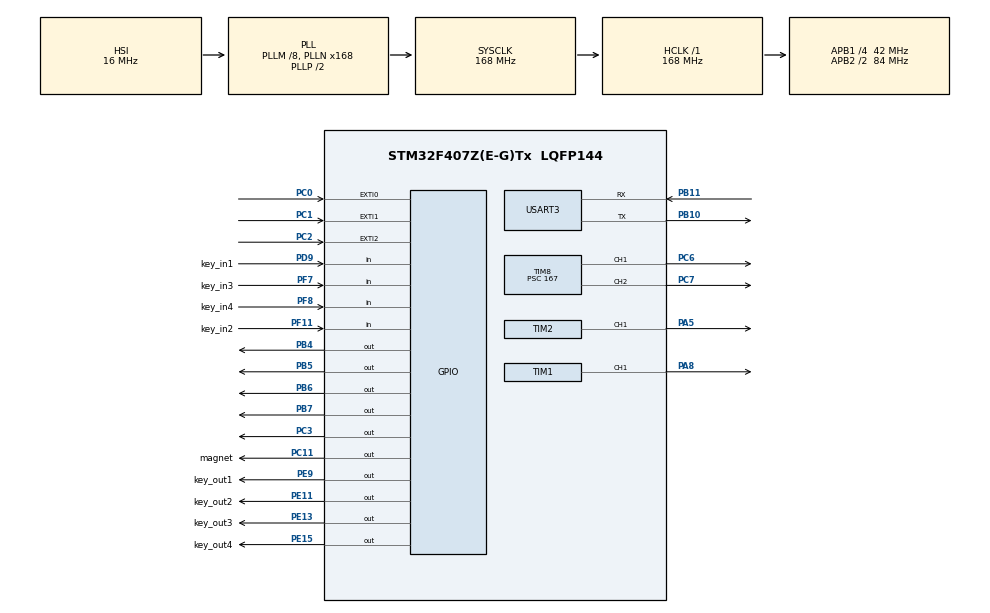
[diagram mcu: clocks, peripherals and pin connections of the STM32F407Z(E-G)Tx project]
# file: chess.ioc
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Dma.Request0=USART3_RX
Dma.USART3_RX.0.Direction=DMA_PERIPH_TO_MEMORY
Dma.USART3_RX.0.FIFOMode=DMA_FIFOMODE_DISABLE
Dma.USART3_RX.0.Instance=DMA1_Stream1
Dma.USART3_RX.0.MemDataAlignment=DMA_MDATAALIGN_BYTE
Dma.USART3_RX.0.MemInc=DMA_MINC_ENABLE
Dma.USART3_RX.0.Mode=DMA_CIRCULAR
Dma.USART3_RX.0.PeriphDataAlignment=DMA_PDATAALIGN_BYTE
Dma.USART3_RX.0.PeriphInc=DMA_PINC_DISABLE
Dma.USART3_RX.0.Priority=DMA_PRIORITY_HIGH
Mcu.Family=STM32F4
Mcu.Name=STM32F407Z(E-G)Tx
Mcu.Package=LQFP144
NVIC.DMA1_Stream1_IRQn=true\:0\:0\:false\:false\:true\:false\:true\:true
NVIC.EXTI0_IRQn=true\:0\:0\:false\:false\:true\:true\:true\:true
NVIC.EXTI1_IRQn=true\:0\:0\:false\:false\:true\:true\:true\:true
NVIC.EXTI2_IRQn=true\:0\:0\:false\:false\:true\:true\:true\:true
NVIC.PriorityGroup=NVIC_PRIORITYGROUP_4
NVIC.USART3_IRQn=true\:0\:0\:false\:false\:true\:true\:true\:true
PA5.Signal=S_TIM2_CH1_ETR
PA8.Signal=S_TIM1_CH1
PB10.Mode=Asynchronous
PB10.Signal=USART3_TX
PB11.Mode=Asynchronous
PB11.Signal=USART3_RX
PB4.Signal=GPIO_Output
PB5.Signal=GPIO_Output
PB6.Signal=GPIO_Output
PB7.Signal=GPIO_Output
PC0.GPIO_ModeDefaultEXTI=GPIO_MODE_IT_FALLING
PC0.GPIO_PuPd=GPIO_PULLUP
PC0.Signal=GPXTI0
PC1.GPIO_ModeDefaultEXTI=GPIO_MODE_IT_FALLING
PC1.GPIO_PuPd=GPIO_PULLUP
PC1.Signal=GPXTI1
PC11.GPIO_Label=magnet
PC11.GPIO_PuPd=GPIO_PULLDOWN
PC11.Signal=GPIO_Output
PC2.GPIO_ModeDefaultEXTI=GPIO_MODE_IT_FALLING
PC2.GPIO_PuPd=GPIO_PULLUP
PC2.Signal=GPXTI2
PC3.Signal=GPIO_Output
PC6.Signal=S_TIM8_CH1
PC7.Signal=S_TIM8_CH2
PD9.GPIO_Label=key_in1
PD9.GPIO_PuPd=GPIO_PULLUP
PD9.Signal=GPIO_Input
PE11.GPIO_Label=key_out2
PE11.GPIO_PuPd=GPIO_PULLUP
PE11.Signal=GPIO_Output
PE13.GPIO_Label=key_out3
PE13.GPIO_PuPd=GPIO_PULLUP
PE13.Signal=GPIO_Output
PE15.GPIO_Label=key_out4
PE15.GPIO_PuPd=GPIO_PULLUP
PE15.Signal=GPIO_Output
PE9.GPIO_Label=key_out1
PE9.GPIO_PuPd=GPIO_PULLUP
PE9.Signal=GPIO_Output
PF11.GPIO_Label=key_in2
PF11.GPIO_PuPd=GPIO_PULLUP
PF11.Signal=GPIO_Input
PF7.GPIO_Label=key_in3
PF7.GPIO_PuPd=GPIO_PULLUP
PF7.Signal=GPIO_Input
PF8.GPIO_Label=key_in4
PF8.GPIO_PuPd=GPIO_PULLUP
PF8.Signal=GPIO_Input
ProjectManager.HeapSize=0x200
ProjectManager.StackSize=0x400
ProjectManager.TargetToolchain=MDK-ARM V5
RCC.48MHZClocksFreq_Value=84000000
RCC.AHBFreq_Value=168000000
RCC.APB1CLKDivider=RCC_HCLK_DIV4
RCC.APB1Freq_Value=42000000
RCC.APB1TimFreq_Value=84000000
RCC.APB2CLKDivider=RCC_HCLK_DIV2
RCC.APB2Freq_Value=84000000
RCC.APB2TimFreq_Value=168000000
RCC.CortexFreq_Value=168000000
RCC.HCLKFreq_Value=168000000
RCC.HSE_VALUE=25000000
RCC.HSI_VALUE=16000000
RCC.LSE_VALUE=32768
RCC.PLLM=8
RCC.PLLN=168
RCC.SYSCLKFreq_VALUE=168000000
RCC.SYSCLKSource=RCC_SYSCLKSOURCE_PLLCLK
RCC.VCOOutputFreq_Value=336000000
SH.S_TIM1_CH1.0=TIM1_CH1,PWM Generation1 CH1
SH.S_TIM2_CH1_ETR.0=TIM2_CH1,PWM Generation1 CH1
SH.S_TIM8_CH1.0=TIM8_CH1,PWM Generation1 CH1
SH.S_TIM8_CH2.0=TIM8_CH2,PWM Generation2 CH2
TIM1.AutoReloadPreload=TIM_AUTORELOAD_PRELOAD_ENABLE
TIM1.Channel-PWM\ Generation1\ CH1=TIM_CHANNEL_1
TIM1.Period=999
TIM1.Prescaler=167
TIM2.AutoReloadPreload=TIM_AUTORELOAD_PRELOAD_ENABLE
TIM2.Channel-PWM\ Generation1\ CH1=TIM_CHANNEL_1
TIM2.Period=999
TIM2.Prescaler=167
TIM8.AutoReloadPreload=TIM_AUTORELOAD_PRELOAD_ENABLE
TIM8.Channel-PWM\ Generation1\ CH1=TIM_CHANNEL_1
TIM8.Channel-PWM\ Generation2\ CH2=TIM_CHANNEL_2
TIM8.Period=999
TIM8.Prescaler=167
USART3.VirtualMode=VM_ASYNC
USART3.WordLength=WORDLENGTH_8B
VP_TIM1_VS_ClockSourceINT.Mode=Internal
VP_TIM2_VS_ClockSourceINT.Mode=Internal
VP_TIM8_VS_ClockSourceINT.Mode=Internal
board=custom

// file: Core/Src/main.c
/* USER CODE BEGIN Header */
/**
  ******************************************************************************
  * @file           : main.c
  * @brief          : Main program body (Multi-timer axis control 2025-06-13)
  ******************************************************************************
  * @attention
  *
  * Copyright (c) 2025 STMicroelectronics.
  * All rights reserved.
  *
  * This software is licensed under terms that can be found in the LICENSE file
  * in the root directory of this software component.
  * If no LICENSE file comes with this software, it is provided AS-IS.
  *
  ******************************************************************************
  */
/* USER CODE END Header */
#include "main.h"

/* USER CODE BEGIN Includes */
#include <stdint.h>
#include <string.h>
#include <stdio.h>
#include <stdlib.h>
#include "stm32f4xx.h"
#include "axis_control.h"
#include "homing.h"
#include "motion_planner.h"
#include "keyboard.h"
#include "k210_comm.h"
#include "chess_logic.h"
/* USER CODE END Includes */

/* USER CODE BEGIN PTD */
// All typedefs moved to respective modules
//顶层枚举
typedef enum { MODE_NONE, MODE_DEMO_1PC, MODE_DEMO_4PC, MODE_DEMO_ROTATION,
               MODE_AI_BLACK, MODE_AI_WHITE, MODE_RESET_BOARD} Mode_t;

//分阶段运行
typedef enum {
    STAGE_IDLE,          // 空闲
	  STAGE_WAIT_KEY,
    STAGE_COLLECT_INPUTS,// 新增：为MODE_DEMO_4PC收集按键输入
    STAGE_CAPTURE_REQ,   // 给 K210 发送 'S' 触发采集
    STAGE_WAIT_FRAME,    // 等待帧就绪
    STAGE_ANALYZE_FRAME, // 检测棋盘/落子合法性
    STAGE_PLAN_MOVE,     // 调用 ChessLogic 计算或脚本化给出目标格
    STAGE_EXECUTE_MOVE,  // 调用 Motion_* 执行机械运动
    STAGE_VERIFY_BOARD,  // 对弈模式下：校验人类走子 / 棋子被挪动
    STAGE_FINISHED       // 本模式结束 → 回到 MODE_NONE
} Stage_t;
/* USER CODE END PTD */

/* USER CODE BEGIN PD */
#define UART_RX_BUFFER_SIZE 512
#define UART_TX_BUFFER_SIZE 512
#define COLOR_BLACK 0
#define COLOR_WHITE 1
#define BOARD_SIZE (GAME_BOARD_SIZE)

/* === 全局状态 =========================================== */
static Mode_t  g_mode  = MODE_NONE;
static Stage_t g_stage = STAGE_IDLE;
static uint8_t g_step  = 0;
static uint8_t ai_first_move = 1;    // ← 新增：AI 第一次落子标志
static int8_t  g_aiSide = COLOR_BLACK;          // 0:Black 1:White
static int     g_firstMoveIdx = 4;              // 默认中心
static int8_t  g_boardLast[GAME_BOARD_SIZE] = {0};   // 上次棋盘
// Other defines moved to respective modules
/* USER CODE END PD */

TIM_HandleTypeDef htim1;
TIM_HandleTypeDef htim2;
TIM_HandleTypeDef htim8;

UART_HandleTypeDef huart3;
DMA_HandleTypeDef hdma_usart3_rx;

/* USER CODE BEGIN PV */
/* All variables have been moved to their respective modules.
   State is now managed within axis_control.c, motion_planner.c, etc. */

/* UART receive variables - kept here for now if still used directly in main */
uint8_t rxBuffer[UART_RX_BUFFER_SIZE];
uint8_t rxIndex = 0;
uint8_t rxChar;
/* USER CODE END PV */

void SystemClock_Config(void);
static void MX_GPIO_Init(void);
static void MX_DMA_Init(void);
static void MX_TIM8_Init(void);
static void MX_USART3_UART_Init(void);
static void MX_TIM1_Init(void);
static void MX_TIM2_Init(void);
/* USER CODE BEGIN PFP */
/* All function prototypes have been moved to their respective module headers */
/* USER CODE END PFP */

/* USER CODE BEGIN 0 */
// All functions moved to their respective modules
/* USER CODE END 0 */

int main(void)
{

  /* MCU Configuration--------------------------------------------------------*/

  /* Reset of all peripherals, Initializes the Flash interface and the Systick. */
  HAL_Init();

  /* Configure the system clock */
  SystemClock_Config();

  /* Initialize all configured peripherals */
  MX_GPIO_Init();
  MX_DMA_Init();
  MX_TIM8_Init();
  MX_USART3_UART_Init();
  MX_TIM1_Init();
  MX_TIM2_Init();
  /* USER CODE BEGIN 2 */
  AxisControl_Init();
  HAL_TIM_Base_Start(&htim1); // Start the timer base
  HAL_TIM_Base_Start(&htim2); // Start the timer base
  HAL_TIM_Base_Start(&htim8); // Start the timer base

  // 初始化 K210 通信
  K210_CommInit(&huart3);
	Homing_Run();
	ChessLogic_Init(); // 初始化下棋逻辑
  // 默认将 PC3 拉低
  HAL_GPIO_WritePin(GPIOC, GPIO_PIN_3, GPIO_PIN_RESET);
	HAL_Delay(500);
//	Motion_MoveTo(1625, 15725, 2000, 3000);
//	Motion_WaitAll();
//	Motion_MoveTo(1625, 15725, 500, 3000);
//	Motion_WaitAll();
  /* USER CODE END 2 */

  /* Infinite loop */
  /* USER CODE BEGIN WHILE */
	while (1)
	{
		/*------------------------------------------------------------*
		 * 0) 根据当前状态决定是否需要扫描键盘                       *
		 *------------------------------------------------------------*/
		if (g_mode == MODE_NONE) /* 只有在未选择任何模式时，才扫描按键用于选择模式 */
		{
			uint8_t key = Key_Scan(); // 将按键扫描移到判断内部
			if (key) // 只有当 key 非 0 时才处理
			{
				switch (key)
				{
					case 1:
						g_mode=MODE_DEMO_1PC;
						g_stage = STAGE_CAPTURE_REQ;
						break;
					case 2:
						g_mode=MODE_DEMO_4PC;
						g_stage = STAGE_COLLECT_INPUTS;
						g_step = 0;
						break;
					case 3:
						g_mode = MODE_DEMO_ROTATION;
						g_stage = STAGE_COLLECT_INPUTS;
						g_step = 0;
						break;
					case 4:
						g_mode = MODE_AI_BLACK;
						g_aiSide = COLOR_BLACK;
						g_stage = STAGE_IDLE; // AI先行，下一轮循环进入AI模式
						break;
					case 5:
						g_mode = MODE_AI_WHITE;
						g_aiSide = COLOR_WHITE;
						g_stage = STAGE_IDLE; // AI后行，等待玩家
						break;
					case 6:
						g_mode = MODE_RESET_BOARD;
						g_stage = STAGE_CAPTURE_REQ;
						break;
					default: break;
				}
			}
		}

		/* 主状态机 */
		switch(g_mode){
			case MODE_DEMO_1PC:{
				const BoardPositionCoord_t *src_demo1pc = NULL;
				const BoardPositionCoord_t *dst_demo1pc = NULL;
				switch(g_stage){
					case STAGE_CAPTURE_REQ:
						K210_RequestCapture();
						g_stage = STAGE_WAIT_FRAME;
						break;
					case STAGE_WAIT_FRAME:
						if (K210_FrameReady())
						{
							const K210_Frame_t *frame = K210_GetFrame();
							ChessLogic_UpdateBoardFromK210(frame, g_aiSide);
							g_stage = STAGE_ANALYZE_FRAME;
						}
						break;
					case STAGE_ANALYZE_FRAME:
						g_stage = STAGE_PLAN_MOVE;
						break;
					case STAGE_PLAN_MOVE:
						// 演示：将第一颗棋盘外的黑子（假设在索引9）移动到棋盘中心（索引4）
						BoardPositionCoord_t src_coord_demo1pc; // 定义独立的源坐标变量
						BoardPositionCoord_t dst_coord_demo1pc; // 定义独立的目标坐标变量

						ChessLogic_GetCoordinatesForMove(9, &src_coord_demo1pc); // 获取源坐标
						ChessLogic_GetCoordinatesForMove(4, &dst_coord_demo1pc); // 获取目标坐标

						Motion_PickAndPlace(&src_coord_demo1pc, &dst_coord_demo1pc); // 传入两个不同变量的地址

						g_stage = STAGE_FINISHED;
						break;
					case STAGE_FINISHED:
						g_mode  = MODE_NONE;
						g_stage = STAGE_IDLE;
						break;
					default:
						g_stage = STAGE_IDLE; // Reset if in an unknown stage
						break;
				}
				break; // Added missing break for MODE_DEMO_1PC
			}
			case MODE_DEMO_4PC:{
				static int destinations[4]; // 存储4个目标位置
				const BoardPositionCoord_t *src_demo4pc = NULL;
				const BoardPositionCoord_t *dst_demo4pc = NULL;

				switch(g_stage){
					case STAGE_COLLECT_INPUTS: {
						uint8_t key = Key_Scan();
						if (key >= 1 && key <= 9) { // 只接受按键 1-9
							destinations[g_step] = key - 1; // 假设按键1-9对应棋盘索引0-8
							g_step++;
							HAL_Delay(250); // 简单防抖和用户反馈延迟
						}

						if (g_step >= 4) {
							// 收集完成，进入与Mode 1类似的流程
							g_stage = STAGE_CAPTURE_REQ;
						}
						break;
					}

					case STAGE_CAPTURE_REQ:
						HAL_GPIO_WritePin(GPIOC, GPIO_PIN_3, GPIO_PIN_SET); // 拉高引脚，通知开始拍照
						K210_RequestCapture();
						g_stage = STAGE_WAIT_FRAME;
						break;

					case STAGE_WAIT_FRAME:
						if (K210_FrameReady())
						{
							const K210_Frame_t *frame = K210_GetFrame();
							ChessLogic_UpdateBoardFromK210(frame, g_aiSide);
							g_stage = STAGE_ANALYZE_FRAME;
						}
						break;

					case STAGE_ANALYZE_FRAME:
						// 此处可以添加棋盘验证逻辑，现在直接进入执行
						g_stage = STAGE_EXECUTE_MOVE;
						break;

					case STAGE_EXECUTE_MOVE: {
						// 执行4次移动
						// 1. 黑子 #1
						BoardPositionCoord_t src1, dst1;
						ChessLogic_GetCoordinatesForMove(9, &src1); // 第1个备用区
						ChessLogic_GetCoordinatesForMove(destinations[0], &dst1);
						Motion_PickAndPlace(&src1, &dst1);

						// 2. 黑子 #2
						BoardPositionCoord_t src2, dst2;
						ChessLogic_GetCoordinatesForMove(10, &src2); // 第2个备用区
						ChessLogic_GetCoordinatesForMove(destinations[1], &dst2);
						Motion_PickAndPlace(&src2, &dst2);

						// 3. 白子 #1
						BoardPositionCoord_t src3, dst3;
						ChessLogic_GetCoordinatesForMove(14, &src3); // 第6个备用区 (白子/AI区)
						ChessLogic_GetCoordinatesForMove(destinations[2], &dst3);
						Motion_PickAndPlace(&src3, &dst3);

						// 4. 白子 #2
						BoardPositionCoord_t src4, dst4;
						ChessLogic_GetCoordinatesForMove(15, &src4); // 第7个备用区
						ChessLogic_GetCoordinatesForMove(destinations[3], &dst4);
						Motion_PickAndPlace(&src4, &dst4);

						g_stage = STAGE_FINISHED;
						break;
					}

					case STAGE_FINISHED:
						g_mode  = MODE_NONE;
						g_stage = STAGE_IDLE;
						break;

					default:
						g_stage = STAGE_IDLE;
						break;
				}
				break;
			}
			case MODE_DEMO_ROTATION: {
				static int destinations[4]; // 存储4个目标位置

				switch(g_stage){
					case STAGE_COLLECT_INPUTS: {
						uint8_t key = Key_Scan();
						if (key >= 1 && key <= 9) { // 只接受按键 1-9
							destinations[g_step] = key - 1; // 棋盘索引 0-8
							g_step++;
							HAL_Delay(250);
						}

						if (g_step >= 4) {
							// 收集完成
							g_stage = STAGE_CAPTURE_REQ;
						}
						break;
					}

					case STAGE_CAPTURE_REQ:
						K210_RequestCapture();
						g_stage = STAGE_WAIT_FRAME;
						break;

					case STAGE_WAIT_FRAME:
						if (K210_FrameReady())
						{
							// 下一阶段进行分析和计算
							g_stage = STAGE_ANALYZE_FRAME;
						}
						break;

					case STAGE_ANALYZE_FRAME: {
						const K210_Frame_t *frame = K210_GetFrame();
						if (frame->corners_ok >= 4) {
							// 调用新函数，根据角点计算并更新电机坐标
							ChessLogic_ApplyRotationFromCorners(frame);
							g_stage = STAGE_EXECUTE_MOVE; // 计算成功，准备执行
						} else {
							// 未能识别足够角点，无法计算，直接结束
							g_stage = STAGE_FINISHED;
						}
						break;
					}

					case STAGE_EXECUTE_MOVE: {
						// 此部分逻辑与 MODE_DEMO_4PC 完全相同
						// 它会调用 ChessLogic_GetCoordinatesForMove,
						// 而该函数现在会返回旋转后的坐标。
						BoardPositionCoord_t src1, dst1;
						ChessLogic_GetCoordinatesForMove(9, &src1);
						ChessLogic_GetCoordinatesForMove(destinations[0], &dst1);
						Motion_PickAndPlace(&src1, &dst1);

						BoardPositionCoord_t src2, dst2;
						ChessLogic_GetCoordinatesForMove(10, &src2);
						ChessLogic_GetCoordinatesForMove(destinations[1], &dst2);
						Motion_PickAndPlace(&src2, &dst2);

						BoardPositionCoord_t src3, dst3;
						ChessLogic_GetCoordinatesForMove(14, &src3);
						ChessLogic_GetCoordinatesForMove(destinations[2], &dst3);
						Motion_PickAndPlace(&src3, &dst3);

						BoardPositionCoord_t src4, dst4;
						ChessLogic_GetCoordinatesForMove(15, &src4);
						ChessLogic_GetCoordinatesForMove(destinations[3], &dst4);
						Motion_PickAndPlace(&src4, &dst4);

						g_stage = STAGE_FINISHED;
						break;
					}

					case STAGE_FINISHED:
						ChessLogic_Init(); // 重置坐标为未经旋转的初始状态
						g_mode  = MODE_NONE;
						g_stage = STAGE_IDLE;
						break;

					default:
						g_stage = STAGE_IDLE;
						break;
				}
				break;
			}
			case MODE_AI_BLACK: {
				static int ai_piece_storage_idx = 14; // AI棋子从14号开始拿

				switch(g_stage){
					case STAGE_IDLE: { // 模式启动后，等待用户按键1-9设置开局位置
						uint8_t key = Key_Scan();
						if (key >= 1 && key <= 9) {
							// 按键1-9对应棋盘索引0-8，更新AI第一步的落子位置
							g_firstMoveIdx = key - 1;
							HAL_GPIO_WritePin(GPIOC, GPIO_PIN_3, GPIO_PIN_SET); //单独按键，无需拍照，但是需要灭灯
							// 初始化对局状态
							ChessLogic_Init();
							memset(g_boardLast, EMPTY_CELL, sizeof(g_boardLast));
							ai_piece_storage_idx = BLACK_PIECE_STORAGE_START_IDX;
							ai_first_move = 1;

							// 设置完成，进入AI走棋阶段
							g_stage = STAGE_PLAN_MOVE;
						}
						// 如果没有检测到有效按键，则停留在当前阶段，继续等待
						break;
					}

					case STAGE_PLAN_MOVE: { // AI计算并规划移动
						int best_move;
						// 开局走固定位置以提高效率
						if (ai_first_move) {
							best_move = g_firstMoveIdx; // 第一次固定走中心格
							ai_first_move = 0;         // 只走一次
						} else {
							best_move = ChessLogic_GetBestMove();
						}

						if (best_move != -1) {
							BoardPositionCoord_t src_ai, dst_ai;
							ChessLogic_GetCoordinatesForMove(ai_piece_storage_idx, &src_ai);
							ChessLogic_GetCoordinatesForMove(best_move, &dst_ai);
							Motion_PickAndPlace(&src_ai, &dst_ai);
							HAL_GPIO_WritePin(GPIOC, GPIO_PIN_3, GPIO_PIN_RESET); // 操作结束，拉低引脚
							board[best_move] = AI_PIECE; // 更新棋盘状态
							if(ai_piece_storage_idx < BLACK_PIECE_STORAGE_END_IDX) ai_piece_storage_idx++;
						}

						if (is_winner(AI_PIECE)) {
							g_stage = STAGE_FINISHED;
							break;
						}
						if (is_board_full()) {
							g_stage = STAGE_FINISHED;
							break;
						}

						memcpy(g_boardLast, board, sizeof(g_boardLast)); // 保存当前棋盘
						g_stage = STAGE_WAIT_KEY; // 等待玩家落子
						break;
					}

					case STAGE_WAIT_KEY:
						if (Key_Scan() == 16) { // 玩家按下确认键
							g_stage = STAGE_CAPTURE_REQ;
						}
						break;

					case STAGE_CAPTURE_REQ:
						HAL_GPIO_WritePin(GPIOC, GPIO_PIN_3, GPIO_PIN_SET); // 拉高引脚，通知开始拍照
						K210_RequestCapture();
						g_stage = STAGE_WAIT_FRAME;
						break;

					case STAGE_WAIT_FRAME:
						if (K210_FrameReady()) {
							const K210_Frame_t *frame = K210_GetFrame();
							ChessLogic_UpdateBoardFromK210(frame, g_aiSide);
							g_stage = STAGE_VERIFY_BOARD;
						}
						break;

					case STAGE_VERIFY_BOARD:
						/*
						// [已注释掉] 为防止 K210 识别错误，在判断合法性前，先把上一轮的 AI 棋子状态恢复到 board 中
						// 这段代码会导致无法正确识别被玩家误移动的AI棋子
						for(int i = 0; i < GAME_BOARD_SIZE; i++) {
							if(g_boardLast[i] == AI_PIECE) {
								board[i] = AI_PIECE;
							}
						}
						*/

						if (ChessLogic_IsPlayerMoveLegal(g_boardLast, PLAYER_PIECE)) {
							// 玩家走棋合法
							memcpy(g_boardLast, board, sizeof(g_boardLast)); // 保存新棋盘状态
							if (is_winner(PLAYER_PIECE) || is_board_full()) {
								g_stage = STAGE_FINISHED; // 玩家赢或平局
							} else {
								g_stage = STAGE_PLAN_MOVE; // 轮到AI
							}
						} else {
							// 玩家走棋不合法 - 假设是移动了AI的棋子
							int from = ChessLogic_FindDisplacedAIPiece(g_boardLast);
							int to = ChessLogic_GetAIPieceNewPosition(g_boardLast); // 使用正确函数获取AI棋子新位置

							if (from != -1 && to != -1) {
								BoardPositionCoord_t src_revert, dst_revert;
								ChessLogic_GetCoordinatesForMove(to, &src_revert);
								ChessLogic_GetCoordinatesForMove(from, &dst_revert);
								Motion_PickAndPlace(&src_revert, &dst_revert); // 把棋子移回去
								HAL_GPIO_WritePin(GPIOC, GPIO_PIN_3, GPIO_PIN_RESET); // 操作结束，拉低引脚
								memcpy(board, g_boardLast, sizeof(board)); // 恢复棋盘状态
							}
							g_stage = STAGE_WAIT_KEY; // 让玩家重新走
						}
						break;

					case STAGE_FINISHED:
						g_mode = MODE_NONE;
						g_stage = STAGE_IDLE;
						break;

					default:
						g_stage = STAGE_IDLE;
						break;
				}
				break;
			}
			case MODE_AI_WHITE: {
				static int ai_piece_storage_idx = 9; // AI 白棋从9号开始拿

				switch(g_stage){
					case STAGE_IDLE: // 模式启动
						ChessLogic_Init();
						memset(g_boardLast, EMPTY_CELL, sizeof(g_boardLast));
						ai_piece_storage_idx = WHITE_PIECE_STORAGE_START_IDX; // 重置AI棋子库为白棋起始位置(14)
						ai_first_move = 1;
						g_stage = STAGE_CAPTURE_REQ; // 模式启动后直接开始检测玩家的第一个棋子，而不是等待按键
						break;

					case STAGE_WAIT_KEY: // 等待玩家落子并按键确认
						if (Key_Scan() == 16) {
							g_stage = STAGE_CAPTURE_REQ;
						}
						break;

					case STAGE_CAPTURE_REQ:
						HAL_GPIO_WritePin(GPIOC, GPIO_PIN_3, GPIO_PIN_SET); // 拉高引脚，通知开始拍照
						K210_RequestCapture();
						g_stage = STAGE_WAIT_FRAME;
						break;

					case STAGE_WAIT_FRAME:
						if (K210_FrameReady()) {
							const K210_Frame_t *frame = K210_GetFrame();
							ChessLogic_UpdateBoardFromK210(frame, g_aiSide);
							g_stage = STAGE_VERIFY_BOARD;
						}
						break;

					case STAGE_VERIFY_BOARD: // 校验玩家走棋
						/*
						// [已注释掉] 同样，先恢复上一轮的 AI 棋子状态
						// 这段代码会导致无法正确识别被玩家误移动的AI棋子
						for(int i = 0; i < GAME_BOARD_SIZE; i++) {
							if(g_boardLast[i] == AI_PIECE) {
								board[i] = AI_PIECE;
							}
						}
						*/

						if (ChessLogic_IsPlayerMoveLegal(g_boardLast, PLAYER_PIECE)) {
							// 玩家走棋合法
							memcpy(g_boardLast, board, sizeof(g_boardLast));
							if (is_winner(PLAYER_PIECE) || is_board_full()) {
								g_stage = STAGE_FINISHED;
							} else {
								g_stage = STAGE_PLAN_MOVE; // 轮到AI
							}
						} else {
							// 玩家走棋不合法
							int from = ChessLogic_FindDisplacedAIPiece(g_boardLast);
							int to = ChessLogic_GetAIPieceNewPosition(g_boardLast); // 使用正确函数获取AI棋子新位置

							if (from != -1 && to != -1) {
								BoardPositionCoord_t src_revert_white, dst_revert_white; // 定义局部变量
								ChessLogic_GetCoordinatesForMove(to, &src_revert_white);
								ChessLogic_GetCoordinatesForMove(from, &dst_revert_white);
								Motion_PickAndPlace(&src_revert_white, &dst_revert_white); // 把棋子移回去
								HAL_GPIO_WritePin(GPIOC, GPIO_PIN_3, GPIO_PIN_RESET); // 操作结束，拉低引脚
								memcpy(board, g_boardLast, sizeof(board));
							}
							g_stage = STAGE_WAIT_KEY; // 让玩家重新走
						}
						break;

					case STAGE_PLAN_MOVE: { // AI 回合
						int best_move = ChessLogic_GetBestMove();

						if (best_move != -1) {
							BoardPositionCoord_t src_ai_white, dst_ai_white; // 定义局部变量
							ChessLogic_GetCoordinatesForMove(ai_piece_storage_idx, &src_ai_white);
							ChessLogic_GetCoordinatesForMove(best_move, &dst_ai_white);
							Motion_PickAndPlace(&src_ai_white, &dst_ai_white);
							HAL_GPIO_WritePin(GPIOC, GPIO_PIN_3, GPIO_PIN_RESET); // 操作结束，拉低引脚
							board[best_move] = AI_PIECE;
							if(ai_piece_storage_idx < WHITE_PIECE_STORAGE_END_IDX) ai_piece_storage_idx++;
						}

						if (is_winner(AI_PIECE) || is_board_full()) {
							g_stage = STAGE_FINISHED;
							break;
						}

						memcpy(g_boardLast, board, sizeof(g_boardLast));
						g_stage = STAGE_WAIT_KEY; // 等待玩家
						break;
					}

					case STAGE_FINISHED:
						g_mode = MODE_NONE;
						g_stage = STAGE_IDLE;
						break;

					default:
						g_stage = STAGE_IDLE;
						break;
				}
				break;
			}
			case MODE_RESET_BOARD: {
				switch(g_stage) {
					case STAGE_CAPTURE_REQ:
						K210_RequestCapture();
						g_stage = STAGE_WAIT_FRAME;
						break;

					case STAGE_WAIT_FRAME:
						if (K210_FrameReady()) {
							const K210_Frame_t *frame = K210_GetFrame();
							// 以下调用是关键：
							// K210返回的黑子(color=0)将被映射为AI_PIECE, 白子(color=1)映射为PLAYER_PIECE
							ChessLogic_UpdateBoardFromK210(frame, COLOR_BLACK);
							g_stage = STAGE_EXECUTE_MOVE;
						}
						break;

					case STAGE_EXECUTE_MOVE: {
						// 1. 分别为黑棋和白棋的存储区寻找下一个可用空位
						int next_black_slot_idx = BLACK_PIECE_STORAGE_START_IDX; // 起始索引 9
						int next_white_slot_idx = WHITE_PIECE_STORAGE_START_IDX; // 起始索引 14

						// 2. 遍历棋盘格 (0-8)
						for (int i = 0; i < GAME_BOARD_SIZE; i++) {
							// 如果当前格子有棋子
							if (board[i] != EMPTY_CELL) {
								BoardPositionCoord_t src, dst;
								int dst_idx = -1; // 初始化目标索引为无效

								// 3. 判断棋子颜色并为其寻找正确的存储区空位
								if (board[i] == AI_PIECE) { // 这是黑子
									// 从黑棋存储区起始位置开始寻找空位
									while (next_black_slot_idx <= BLACK_PIECE_STORAGE_END_IDX) {
										if (board[next_black_slot_idx] == EMPTY_CELL) {
											dst_idx = next_black_slot_idx; // 找到空位
											next_black_slot_idx++;         // 更新下一个空位索引
											break;
										}
										next_black_slot_idx++;
									}
								} else { // 这是白子 (board[i] == PLAYER_PIECE)
									// 从白棋存储区起始位置开始寻找空位
									while (next_white_slot_idx <= WHITE_PIECE_STORAGE_END_IDX) {
										if (board[next_white_slot_idx] == EMPTY_CELL) {
											dst_idx = next_white_slot_idx; // 找到空位
											next_white_slot_idx++;         // 更新下一个空位索引
											break;
										}
										next_white_slot_idx++;
									}
								}

								// 4. 如果成功找到了合法的目标位置，则执行移动
								if (dst_idx != -1) {
									ChessLogic_GetCoordinatesForMove(i, &src);
									ChessLogic_GetCoordinatesForMove(dst_idx, &dst);
									Motion_PickAndPlace(&src, &dst);
								}
							}
						}

						g_stage = STAGE_FINISHED;
						break;
					}

					case STAGE_FINISHED:
						g_mode = MODE_NONE;
						g_stage = STAGE_IDLE;
						break;

					default:
						g_stage = STAGE_IDLE;
						break;
				}
				break;
			}
		}

		K210_ProcessReceivedData();                          /* 异步 UART */
	  }
}

void SystemClock_Config(void)
{
  RCC_OscInitTypeDef RCC_OscInitStruct = {0};
  RCC_ClkInitTypeDef RCC_ClkInitStruct = {0};

  /** Configure the main internal regulator output voltage
  */
  __HAL_RCC_PWR_CLK_ENABLE();
  __HAL_PWR_VOLTAGESCALING_CONFIG(PWR_REGULATOR_VOLTAGE_SCALE1);

  /** Initializes the RCC Oscillators according to the specified parameters
  * in the RCC_OscInitTypeDef structure.
  */
  RCC_OscInitStruct.OscillatorType = RCC_OSCILLATORTYPE_HSI;
  RCC_OscInitStruct.HSIState = RCC_HSI_ON;
  RCC_OscInitStruct.HSICalibrationValue = RCC_HSICALIBRATION_DEFAULT;
  RCC_OscInitStruct.PLL.PLLState = RCC_PLL_ON;
  RCC_OscInitStruct.PLL.PLLSource = RCC_PLLSOURCE_HSI;
  RCC_OscInitStruct.PLL.PLLM = 8;
  RCC_OscInitStruct.PLL.PLLN = 168;
  RCC_OscInitStruct.PLL.PLLP = RCC_PLLP_DIV2;
  RCC_OscInitStruct.PLL.PLLQ = 4;
  if (HAL_RCC_OscConfig(&RCC_OscInitStruct) != HAL_OK)
  {
    Error_Handler();
  }

  /** Initializes the CPU, AHB and APB buses clocks
  */
  RCC_ClkInitStruct.ClockType = RCC_CLOCKTYPE_HCLK|RCC_CLOCKTYPE_SYSCLK
                              |RCC_CLOCKTYPE_PCLK1|RCC_CLOCKTYPE_PCLK2;
  RCC_ClkInitStruct.SYSCLKSource = RCC_SYSCLKSOURCE_PLLCLK;
  RCC_ClkInitStruct.AHBCLKDivider = RCC_SYSCLK_DIV1;
  RCC_ClkInitStruct.APB1CLKDivider = RCC_HCLK_DIV4;
  RCC_ClkInitStruct.APB2CLKDivider = RCC_HCLK_DIV2;

  if (HAL_RCC_ClockConfig(&RCC_ClkInitStruct, FLASH_LATENCY_5) != HAL_OK)
  {
    Error_Handler();
  }
}

static void MX_TIM1_Init(void)
{

  TIM_ClockConfigTypeDef sClockSourceConfig = {0};
  TIM_MasterConfigTypeDef sMasterConfig = {0};
  TIM_OC_InitTypeDef sConfigOC = {0};
  TIM_BreakDeadTimeConfigTypeDef sBreakDeadTimeConfig = {0};

  htim1.Instance = TIM1;
  htim1.Init.Prescaler = 167;
  htim1.Init.CounterMode = TIM_COUNTERMODE_UP;
  htim1.Init.Period = 999;
  htim1.Init.ClockDivision = TIM_CLOCKDIVISION_DIV1;
  htim1.Init.RepetitionCounter = 0;
  htim1.Init.AutoReloadPreload = TIM_AUTORELOAD_PRELOAD_ENABLE;
  if (HAL_TIM_Base_Init(&htim1) != HAL_OK)
  {
    Error_Handler();
  }
  sClockSourceConfig.ClockSource = TIM_CLOCKSOURCE_INTERNAL;
  if (HAL_TIM_ConfigClockSource(&htim1, &sClockSourceConfig) != HAL_OK)
  {
    Error_Handler();
  }
  if (HAL_TIM_PWM_Init(&htim1) != HAL_OK)
  {
    Error_Handler();
  }
  sMasterConfig.MasterOutputTrigger = TIM_TRGO_RESET;
  sMasterConfig.MasterSlaveMode = TIM_MASTERSLAVEMODE_DISABLE;
  if (HAL_TIMEx_MasterConfigSynchronization(&htim1, &sMasterConfig) != HAL_OK)
  {
    Error_Handler();
  }
  sConfigOC.OCMode = TIM_OCMODE_PWM1;
  sConfigOC.Pulse = 0;
  sConfigOC.OCPolarity = TIM_OCPOLARITY_HIGH;
  sConfigOC.OCNPolarity = TIM_OCNPOLARITY_HIGH;
  sConfigOC.OCFastMode = TIM_OCFAST_DISABLE;
  sConfigOC.OCIdleState = TIM_OCIDLESTATE_RESET;
  sConfigOC.OCNIdleState = TIM_OCNIDLESTATE_RESET;
  if (HAL_TIM_PWM_ConfigChannel(&htim1, &sConfigOC, TIM_CHANNEL_1) != HAL_OK)
  {
    Error_Handler();
  }
  sBreakDeadTimeConfig.OffStateRunMode = TIM_OSSR_DISABLE;
  sBreakDeadTimeConfig.OffStateIDLEMode = TIM_OSSI_DISABLE;
  sBreakDeadTimeConfig.LockLevel = TIM_LOCKLEVEL_OFF;
  sBreakDeadTimeConfig.DeadTime = 0;
  sBreakDeadTimeConfig.BreakState = TIM_BREAK_DISABLE;
  sBreakDeadTimeConfig.BreakPolarity = TIM_BREAKPOLARITY_HIGH;
  sBreakDeadTimeConfig.AutomaticOutput = TIM_AUTOMATICOUTPUT_DISABLE;
  if (HAL_TIMEx_ConfigBreakDeadTime(&htim1, &sBreakDeadTimeConfig) != HAL_OK)
  {
    Error_Handler();
  }
  HAL_TIM_MspPostInit(&htim1);

}

static void MX_TIM2_Init(void)
{

  TIM_ClockConfigTypeDef sClockSourceConfig = {0};
  TIM_MasterConfigTypeDef sMasterConfig = {0};
  TIM_OC_InitTypeDef sConfigOC = {0};

  htim2.Instance = TIM2;
  htim2.Init.Prescaler = 167;
  htim2.Init.CounterMode = TIM_COUNTERMODE_UP;
  htim2.Init.Period = 999;
  htim2.Init.ClockDivision = TIM_CLOCKDIVISION_DIV1;
  htim2.Init.AutoReloadPreload = TIM_AUTORELOAD_PRELOAD_ENABLE;
  if (HAL_TIM_Base_Init(&htim2) != HAL_OK)
  {
    Error_Handler();
  }
  sClockSourceConfig.ClockSource = TIM_CLOCKSOURCE_INTERNAL;
  if (HAL_TIM_ConfigClockSource(&htim2, &sClockSourceConfig) != HAL_OK)
  {
    Error_Handler();
  }
  if (HAL_TIM_PWM_Init(&htim2) != HAL_OK)
  {
    Error_Handler();
  }
  sMasterConfig.MasterOutputTrigger = TIM_TRGO_RESET;
  sMasterConfig.MasterSlaveMode = TIM_MASTERSLAVEMODE_DISABLE;
  if (HAL_TIMEx_MasterConfigSynchronization(&htim2, &sMasterConfig) != HAL_OK)
  {
    Error_Handler();
  }
  sConfigOC.OCMode = TIM_OCMODE_PWM1;
  sConfigOC.Pulse = 0;
  sConfigOC.OCPolarity = TIM_OCPOLARITY_HIGH;
  sConfigOC.OCFastMode = TIM_OCFAST_DISABLE;
  if (HAL_TIM_PWM_ConfigChannel(&htim2, &sConfigOC, TIM_CHANNEL_1) != HAL_OK)
  {
    Error_Handler();
  }
  HAL_TIM_MspPostInit(&htim2);

}

static void MX_TIM8_Init(void)
{

  TIM_ClockConfigTypeDef sClockSourceConfig = {0};
  TIM_MasterConfigTypeDef sMasterConfig = {0};
  TIM_OC_InitTypeDef sConfigOC = {0};
  TIM_BreakDeadTimeConfigTypeDef sBreakDeadTimeConfig = {0};

  htim8.Instance = TIM8;
  htim8.Init.Prescaler = 167;
  htim8.Init.CounterMode = TIM_COUNTERMODE_UP;
  htim8.Init.Period = 999;
  htim8.Init.ClockDivision = TIM_CLOCKDIVISION_DIV1;
  htim8.Init.RepetitionCounter = 0;
  htim8.Init.AutoReloadPreload = TIM_AUTORELOAD_PRELOAD_ENABLE;
  if (HAL_TIM_Base_Init(&htim8) != HAL_OK)
  {
    Error_Handler();
  }
  sClockSourceConfig.ClockSource = TIM_CLOCKSOURCE_INTERNAL;
  if (HAL_TIM_ConfigClockSource(&htim8, &sClockSourceConfig) != HAL_OK)
  {
    Error_Handler();
  }
  if (HAL_TIM_PWM_Init(&htim8) != HAL_OK)
  {
    Error_Handler();
  }
  sMasterConfig.MasterOutputTrigger = TIM_TRGO_RESET;
  sMasterConfig.MasterSlaveMode = TIM_MASTERSLAVEMODE_DISABLE;
  if (HAL_TIMEx_MasterConfigSynchronization(&htim8, &sMasterConfig) != HAL_OK)
  {
    Error_Handler();
  }
  sConfigOC.OCMode = TIM_OCMODE_PWM1;
  sConfigOC.Pulse = 0;
  sConfigOC.OCPolarity = TIM_OCPOLARITY_HIGH;
  sConfigOC.OCNPolarity = TIM_OCNPOLARITY_HIGH;
  sConfigOC.OCFastMode = TIM_OCFAST_DISABLE;
  sConfigOC.OCIdleState = TIM_OCIDLESTATE_RESET;
  sConfigOC.OCNIdleState = TIM_OCNIDLESTATE_RESET;
  if (HAL_TIM_PWM_ConfigChannel(&htim8, &sConfigOC, TIM_CHANNEL_1) != HAL_OK)
  {
    Error_Handler();
  }
  if (HAL_TIM_PWM_ConfigChannel(&htim8, &sConfigOC, TIM_CHANNEL_2) != HAL_OK)
  {
    Error_Handler();
  }
  sBreakDeadTimeConfig.OffStateRunMode = TIM_OSSR_DISABLE;
  sBreakDeadTimeConfig.OffStateIDLEMode = TIM_OSSI_DISABLE;
  sBreakDeadTimeConfig.LockLevel = TIM_LOCKLEVEL_OFF;
  sBreakDeadTimeConfig.DeadTime = 0;
  sBreakDeadTimeConfig.BreakState = TIM_BREAK_DISABLE;
  sBreakDeadTimeConfig.BreakPolarity = TIM_BREAKPOLARITY_HIGH;
  sBreakDeadTimeConfig.AutomaticOutput = TIM_AUTOMATICOUTPUT_DISABLE;
  if (HAL_TIMEx_ConfigBreakDeadTime(&htim8, &sBreakDeadTimeConfig) != HAL_OK)
  {
    Error_Handler();
  }
  HAL_TIM_MspPostInit(&htim8);

}

static void MX_USART3_UART_Init(void)
{

  huart3.Instance = USART3;
  huart3.Init.BaudRate = 115200;
  huart3.Init.WordLength = UART_WORDLENGTH_8B;
  huart3.Init.StopBits = UART_STOPBITS_1;
  huart3.Init.Parity = UART_PARITY_NONE;
  huart3.Init.Mode = UART_MODE_TX_RX;
  huart3.Init.HwFlowCtl = UART_HWCONTROL_NONE;
  huart3.Init.OverSampling = UART_OVERSAMPLING_16;
  if (HAL_UART_Init(&huart3) != HAL_OK)
  {
    Error_Handler();
  }

}

static void MX_DMA_Init(void)
{

  /* DMA controller clock enable */
  __HAL_RCC_DMA1_CLK_ENABLE();

  /* DMA interrupt init */
  /* DMA1_Stream1_IRQn interrupt configuration */
  HAL_NVIC_SetPriority(DMA1_Stream1_IRQn, 0, 0);
  HAL_NVIC_EnableIRQ(DMA1_Stream1_IRQn);

}

static void MX_GPIO_Init(void)
{
  GPIO_InitTypeDef GPIO_InitStruct = {0};
  /* USER CODE BEGIN MX_GPIO_Init_1 */
  __HAL_RCC_SYSCFG_CLK_ENABLE();
  /* USER CODE END MX_GPIO_Init_1 */

  /* GPIO Ports Clock Enable */
  __HAL_RCC_GPIOF_CLK_ENABLE();
  __HAL_RCC_GPIOC_CLK_ENABLE();
  __HAL_RCC_GPIOA_CLK_ENABLE();
  __HAL_RCC_GPIOE_CLK_ENABLE();
  __HAL_RCC_GPIOB_CLK_ENABLE();
  __HAL_RCC_GPIOD_CLK_ENABLE();

  /*Configure GPIO pin Output Level */
  HAL_GPIO_WritePin(GPIOC, GPIO_PIN_3|magnet_Pin, GPIO_PIN_RESET);

  /*Configure GPIO pin Output Level */
  HAL_GPIO_WritePin(GPIOE, key_out1_Pin|key_out2_Pin|key_out3_Pin|key_out4_Pin, GPIO_PIN_RESET);

  /*Configure GPIO pin Output Level */
  HAL_GPIO_WritePin(GPIOB, GPIO_PIN_4|GPIO_PIN_5|GPIO_PIN_6|GPIO_PIN_7, GPIO_PIN_RESET);

  /*Configure GPIO pins : key_in3_Pin key_in4_Pin key_in2_Pin */
  GPIO_InitStruct.Pin = key_in3_Pin|key_in4_Pin|key_in2_Pin;
  GPIO_InitStruct.Mode = GPIO_MODE_INPUT;
  GPIO_InitStruct.Pull = GPIO_PULLUP;
  HAL_GPIO_Init(GPIOF, &GPIO_InitStruct);

  /*Configure GPIO pins : PC0 PC1 PC2 */
  GPIO_InitStruct.Pin = GPIO_PIN_0|GPIO_PIN_1|GPIO_PIN_2;
  GPIO_InitStruct.Mode = GPIO_MODE_IT_FALLING;
  GPIO_InitStruct.Pull = GPIO_PULLUP;
  HAL_GPIO_Init(GPIOC, &GPIO_InitStruct);

  /*Configure GPIO pin : PC3 */
  GPIO_InitStruct.Pin = GPIO_PIN_3;
  GPIO_InitStruct.Mode = GPIO_MODE_OUTPUT_PP;
  GPIO_InitStruct.Pull = GPIO_NOPULL;
  GPIO_InitStruct.Speed = GPIO_SPEED_FREQ_LOW;
  HAL_GPIO_Init(GPIOC, &GPIO_InitStruct);

  /*Configure GPIO pins : key_out1_Pin key_out2_Pin key_out3_Pin key_out4_Pin */
  GPIO_InitStruct.Pin = key_out1_Pin|key_out2_Pin|key_out3_Pin|key_out4_Pin;
  GPIO_InitStruct.Mode = GPIO_MODE_OUTPUT_PP;
  GPIO_InitStruct.Pull = GPIO_PULLUP;
  GPIO_InitStruct.Speed = GPIO_SPEED_FREQ_LOW;
  HAL_GPIO_Init(GPIOE, &GPIO_InitStruct);

  /*Configure GPIO pin : key_in1_Pin */
  GPIO_InitStruct.Pin = key_in1_Pin;
  GPIO_InitStruct.Mode = GPIO_MODE_INPUT;
  GPIO_InitStruct.Pull = GPIO_PULLUP;
  HAL_GPIO_Init(key_in1_GPIO_Port, &GPIO_InitStruct);

  /*Configure GPIO pin : magnet_Pin */
  GPIO_InitStruct.Pin = magnet_Pin;
  GPIO_InitStruct.Mode = GPIO_MODE_OUTPUT_PP;
  GPIO_InitStruct.Pull = GPIO_PULLDOWN;
  GPIO_InitStruct.Speed = GPIO_SPEED_FREQ_LOW;
  HAL_GPIO_Init(magnet_GPIO_Port, &GPIO_InitStruct);

  /*Configure GPIO pins : PB4 PB5 PB6 PB7 */
  GPIO_InitStruct.Pin = GPIO_PIN_4|GPIO_PIN_5|GPIO_PIN_6|GPIO_PIN_7;
  GPIO_InitStruct.Mode = GPIO_MODE_OUTPUT_PP;
  GPIO_InitStruct.Pull = GPIO_NOPULL;
  GPIO_InitStruct.Speed = GPIO_SPEED_FREQ_LOW;
  HAL_GPIO_Init(GPIOB, &GPIO_InitStruct);

  /* EXTI interrupt init*/
  HAL_NVIC_SetPriority(EXTI0_IRQn, 0, 0);
  HAL_NVIC_EnableIRQ(EXTI0_IRQn);

  HAL_NVIC_SetPriority(EXTI1_IRQn, 0, 0);
  HAL_NVIC_EnableIRQ(EXTI1_IRQn);

  HAL_NVIC_SetPriority(EXTI2_IRQn, 0, 0);
  HAL_NVIC_EnableIRQ(EXTI2_IRQn);

}

/* USER CODE BEGIN 4 */

/**
  * @brief  EXTI line detection callbacks
  * @param  GPIO_Pin: 被触发的引脚
  * @retval None
  */
void HAL_GPIO_EXTI_Callback(uint16_t GPIO_Pin)
{
    Axis_LimitSwitchCallback(GPIO_Pin);
}

/* USER CODE END 4 */

void Error_Handler(void)
{
  __disable_irq();
  while (1)
  {
  }
}
